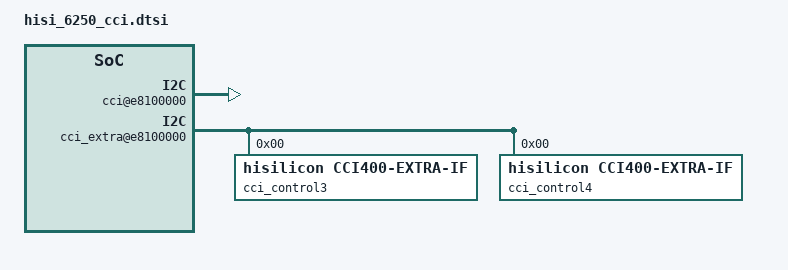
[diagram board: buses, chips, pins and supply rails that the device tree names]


/{
	cci@e8100000 {
		compatible = "arm,cci-500";
		#address-cells = <2>;
		#size-cells = <2>;
		reg = <0x0 0xe8100000 0x0 0x1000>;
	};

	cci_extra@e8100000 {
		compatible = "hisilicon,cci400-extra";
		#address-cells = <2>;
		#size-cells = <2>;
		reg = <0x0 0xe8100000 0x0 0x1000>;

		ranges = <0x0 0x1000 0x0 0xe8101000 0x0 0x1000>,
			<0x0 0x2000 0x0 0xe8102000 0x0 0x1000>;

		speculative-disable = <0x70001>;

		cci_control3: slave-if@1000 {
			compatible = "hisilicon,cci400-extra-if";
			reg = <0x0 0x1000 0x0 0x1000>;
			read-qos-override = <0x86030013>;
			write-qos-override = <0x86040013>;
		};

		cci_control4: slave-if@2000 {
			compatible = "hisilicon,cci400-extra-if";
			reg = <0x0 0x2000 0x0 0x1000>;
			read-qos-override = <0x86040013>;
			write-qos-override = <0x86050013>;
		};
	};
};
